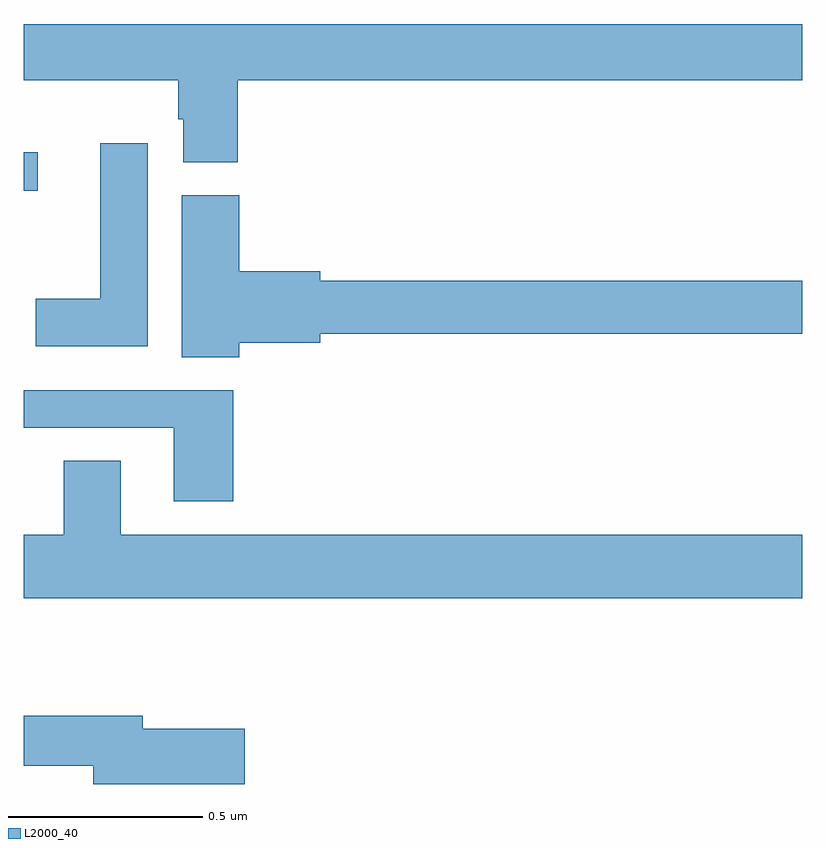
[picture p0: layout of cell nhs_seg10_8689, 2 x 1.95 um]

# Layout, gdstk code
import gdstk
lib = gdstk.Library(unit=1e-6, precision=1e-09)
def R(c, l, rs):  # rectangles x0, y0, x1, y1
    for r in rs: c.add(gdstk.rectangle(r[:2], r[2:], *l))
def P(c, l, *ps):  # polygons
    for p in ps: c.add(gdstk.Polygon(p, *l))
L2000_40 = (2000, 40)

nhs_seg10_8689 = lib.new_cell('nhs_seg10_8689')
R(nhs_seg10_8689, L2000_40, [(220,1260.072,220.036,1260.17)])
P(nhs_seg10_8689, L2000_40, [(220.55,1260.356),(222,1260.356),(222,1260.5),(220,1260.5),(220,1260.356),(220.397,1260.356),(220.397,1260.255),(220.409,1260.255),(220.409,1260.145),(220.55,1260.145)],
  [(220.318,1260.193),(220.196,1260.193),(220.196,1259.794),(220.031,1259.794),(220.031,1259.672),(220.318,1259.672)],
  [(220.553,1259.681),(220.762,1259.681),(220.762,1259.704),(222,1259.704),(222,1259.84),(220.762,1259.84),(220.762,1259.864),(220.553,1259.864),(220.553,1260.06),(220.406,1260.06),(220.406,1259.644),(220.553,1259.644)],
  [(220.538,1259.559),(220,1259.559),(220,1259.463),(220.385,1259.463),(220.385,1259.274),(220.538,1259.274)],
  [(222,1259.188),(220.249,1259.188),(220.249,1259.378),(220.102,1259.378),(220.102,1259.188),(220,1259.188),(220,1259.024),(222,1259.024)],
  [(220.567,1258.689),(220.306,1258.689),(220.306,1258.723),(220,1258.723),(220,1258.594),(220.178,1258.594),(220.178,1258.547),(220.567,1258.547)])

lib.write_gds('nhs_seg10_8689.gds')
